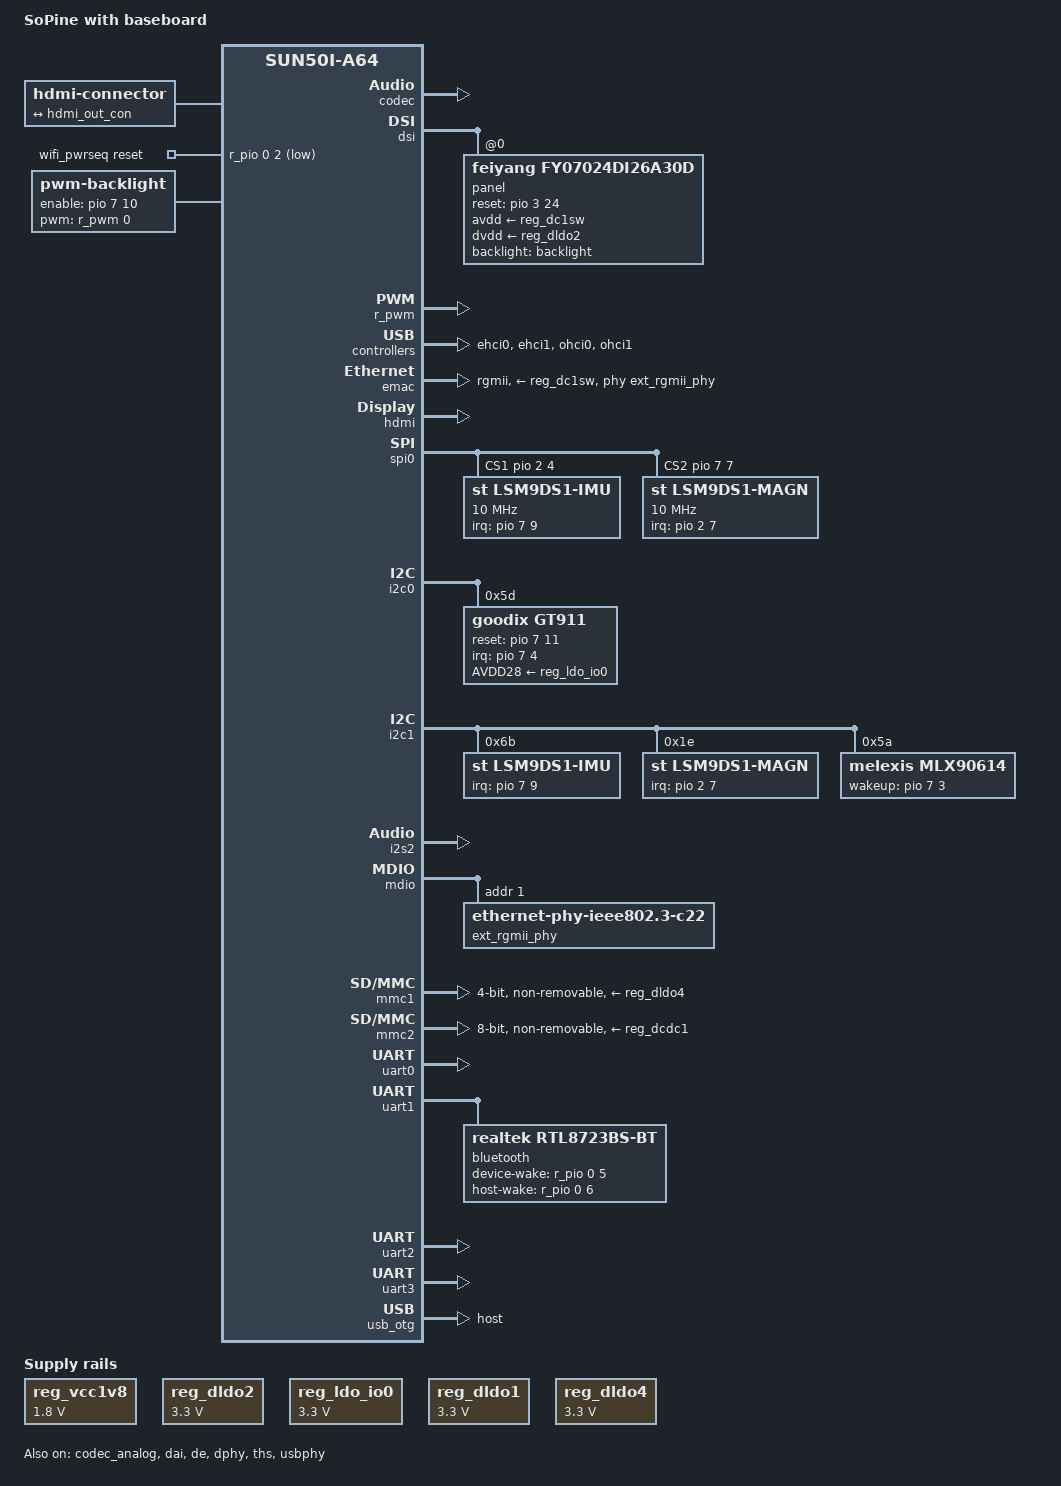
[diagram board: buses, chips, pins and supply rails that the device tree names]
// SPDX-License-Identifier: (GPL-2.0+ OR MIT)
// Copyright (c) 2017 Icenowy Zheng <icenowy@aosc.xyz>
// Based on sun50i-a64-pine64.dts, which is:
//   Copyright (c) 2016 ARM Ltd.

/dts-v1/;

#include "sun50i-a64-sopine.dtsi"
#include <dt-bindings/pwm/pwm.h>

/ {
	model = "SoPine with baseboard";
	compatible = "pine64,sopine-baseboard", "pine64,sopine",
		     "allwinner,sun50i-a64";

	aliases {
		ethernet0 = &emac;
		serial0 = &uart0;
		serial1 = &uart1;
		serial2 = &uart2;
		serial3 = &uart3;
		serial4 = &uart4;
	};

	chosen {
		stdout-path = "serial0:115200n8";
	};

	hdmi-connector {
		compatible = "hdmi-connector";
		type = "a";

		port {
			hdmi_con_in: endpoint {
				remote-endpoint = <&hdmi_out_con>;
			};
		};
	};

	reg_vcc1v8: vcc1v8 {
		compatible = "regulator-fixed";
		regulator-name = "vcc1v8";
		regulator-min-microvolt = <1800000>;
		regulator-max-microvolt = <1800000>;
	};

	wifi_pwrseq: wifi_pwrseq {
		compatible = "mmc-pwrseq-simple";
		reset-gpios = <&r_pio 0 2 GPIO_ACTIVE_LOW>; /* PL2 */
	};

	backlight: backlight {
		compatible = "pwm-backlight";
		pwms = <&r_pwm 0 50000 PWM_POLARITY_INVERTED>;
		brightness-levels = <0 10 20 30 40 50 60 70 80 90 100>;
		default-brightness-level = <8>;
		enable-gpios = <&pio 7 10 GPIO_ACTIVE_HIGH>; /* LCD-BL-EN: PH10 */
	};
};

&ac_power_supply {
	status = "okay";
};

&battery_power_supply {
	status = "okay";
};

&codec {
	status = "okay";
};

&codec_analog {
	status = "okay";
};

&dai {
	status = "okay";
};

&de {
	status = "okay";
};

&dphy {
	status = "okay";
};

&dsi {
	vcc-dsi-supply = <&reg_dldo1>;		/* VCC3V3-DSI */
	#address-cells = <1>;
	#size-cells = <0>;
	status = "okay";

	panel@0 {
		compatible = "feiyang,fy07024di26a30d";
		reg = <0>;
		avdd-supply = <&reg_dc1sw>;	/* VCC-LCD */
		dvdd-supply = <&reg_dldo2>;	/* VCC-MIPI */
		reset-gpios = <&pio 3 24 GPIO_ACTIVE_HIGH>; /* LCD-RST: PD24 */
		backlight = <&backlight>;
	};
};

&reg_dc1sw {
	regulator-always-on;
	regulator-name = "dc1sw";
};

&reg_dldo2 {
	regulator-always-on;
	regulator-min-microvolt = <3300000>;
	regulator-max-microvolt = <3300000>;
	regulator-name = "vcc-mipi-io";
};

&r_pwm {
	pinctrl-names = "default";
	pinctrl-0 = <&r_pwm_pin>;
	status = "okay";
};

&ehci0 {
	status = "okay";
};

&ehci1 {
	status = "okay";
};

&emac {
	pinctrl-names = "default";
	pinctrl-0 = <&rgmii_pins>;
	phy-mode = "rgmii";
	phy-handle = <&ext_rgmii_phy>;
	phy-supply = <&reg_dc1sw>;
	status = "okay";
};

&hdmi {
	hvcc-supply = <&reg_dldo1>;
	status = "okay";
};

&hdmi_out {
	hdmi_out_con: endpoint {
		remote-endpoint = <&hdmi_con_in>;
	};
};

&spi0 {
	status = "okay";
	cs-gpios = <0>, <&pio 2 4 0>, <&pio 7 7 0>; /* PC4 and PH7 */
	num-cs = <3>;

	lsm9ds1-imu {
		compatible = "st,lsm9ds1-imu";
		reg = <1>;
		spi-max-frequency = <10000000>;
		spi-cpol;
		spi-cpha;

		interrupt-parent = <&pio>;
		interrupts = <7 9 IRQ_TYPE_EDGE_RISING>; /* PH9 */
	};

	lsm9ds1-magn {
		compatible = "st,lsm9ds1-magn";
		reg = <2>;
		spi-max-frequency = <10000000>;
		spi-cpol;
		spi-cpha;

		interrupt-parent = <&pio>;
		interrupts = <2 7 IRQ_TYPE_EDGE_RISING>; /* PC7 */
	};
};

&i2c0 {
	pinctrl-names = "default";
	pinctrl-0 = <&i2c0_pins>;
	status = "okay";

	gt911@5d {
		compatible = "goodix,gt911";
		reg = <0x5d>;

		interrupt-parent = <&pio>;
		interrupts = <7 4 IRQ_TYPE_EDGE_RISING>; /* PH4 */
		reset-gpios = <&pio 7 11 GPIO_ACTIVE_HIGH>; /* PH11 */
		AVDD28-supply = <&reg_ldo_io0>; /* VCC-CTP: GPIO0-LDO */
	};
};

&i2c1 {
	pinctrl-names = "default";
	pinctrl-0 = <&i2c1_pins>;
	status = "okay";

	lsm9ds1-imu@6b {
		compatible = "st,lsm9ds1-imu";
		reg = <0x6b>;

		interrupt-parent = <&pio>;
		interrupts = <7 9 IRQ_TYPE_EDGE_RISING>; /* PH9 */
	};

	lsm9ds1-magn@1e {
		compatible = "st,lsm9ds1-magn";
		reg = <0x1e>;

		interrupt-parent = <&pio>;
		interrupts = <2 7 IRQ_TYPE_EDGE_RISING>; /* PC7 */
        };

	mlx90614@5a {
		compatible = "melexis,mlx90614";
		reg = <0x5a>;
		wakeup-gpios = <&pio 7 3 GPIO_ACTIVE_HIGH>; /* PH3 */
	};
};

&reg_ldo_io0 {
	regulator-min-microvolt = <3300000>;
	regulator-max-microvolt = <3300000>;
	regulator-name = "vcc-ctp";
	status = "okay";
};

&i2s2 {
	status = "okay";
};

&mdio {
	ext_rgmii_phy: ethernet-phy@1 {
		compatible = "ethernet-phy-ieee802.3-c22";
		reg = <1>;
	};
};

&mmc1 {
	pinctrl-names = "default";
	pinctrl-0 = <&mmc1_pins>;
	vmmc-supply = <&reg_dldo4>;
	vqmmc-supply = <&reg_eldo1>;
	mmc-pwrseq = <&wifi_pwrseq>;
	non-removable;
	bus-width = <4>;
	status = "okay";
};

&mmc2 {
	pinctrl-names = "default";
	pinctrl-0 = <&mmc2_pins>;
	vmmc-supply = <&reg_dcdc1>;
	vqmmc-supply = <&reg_vcc1v8>;
	bus-width = <8>;
	non-removable;
	cap-mmc-hw-reset;
	status = "okay";
};

&ohci0 {
	status = "okay";
};

&ohci1 {
	status = "okay";
};

&reg_dc1sw {
	/*
	 * Ethernet PHY needs 30ms to properly power up and some more
	 * to initialize. 100ms should be plenty of time to finish
	 * whole process.
	 */
	regulator-enable-ramp-delay = <100000>;
	regulator-name = "vcc-phy";
};

&reg_dldo1 {
	regulator-min-microvolt = <3300000>;
	regulator-max-microvolt = <3300000>;
	regulator-name = "vcc-hdmi";
};

&reg_dldo2 {
	regulator-min-microvolt = <3300000>;
	regulator-max-microvolt = <3300000>;
	regulator-name = "vcc-mipi";
};

&reg_dldo4 {
	regulator-min-microvolt = <3300000>;
	regulator-max-microvolt = <3300000>;
	regulator-name = "vcc-wifi";
};

&simplefb_hdmi {
	vcc-hdmi-supply = <&reg_dldo1>;
};

&sound {
	simple-audio-card,aux-devs = <&codec_analog>;
	simple-audio-card,widgets = "Microphone", "Microphone Jack",
				    "Headphone", "Headphone Jack";
	simple-audio-card,routing =
			"Left DAC", "AIF1 Slot 0 Left",
			"Right DAC", "AIF1 Slot 0 Right",
			"Headphone Jack", "HP",
			"AIF1 Slot 0 Left ADC", "Left ADC",
			"AIF1 Slot 0 Right ADC", "Right ADC",
			"MIC2", "Microphone Jack";
	status = "okay";
};

&sound_hdmi {
	status = "okay";
};

&ths {
	status = "okay";
};

&uart0 {
	pinctrl-names = "default";
	pinctrl-0 = <&uart0_pb_pins>;
	status = "okay";
};

&uart1 {
	pinctrl-names = "default";
	pinctrl-0 = <&uart1_pins>, <&uart1_rts_cts_pins>;
	uart-has-rtscts = <1>;
	status = "okay";

	bluetooth {
		compatible = "realtek,rtl8723bs-bt";
		device-wake-gpios = <&r_pio 0 5 GPIO_ACTIVE_HIGH>; /* PL5 */
		host-wake-gpios = <&r_pio 0 6 GPIO_ACTIVE_HIGH>; /* PL6 */
	};
};

/* On Pi-2 connector */
&uart2 {
	pinctrl-names = "default";
	pinctrl-0 = <&uart2_pins>;
	status = "okay";
};

/* On Euler connector */
&uart3 {
	pinctrl-names = "default";
	pinctrl-0 = <&uart3_pins>;
	status = "okay";
};

/* On Euler connector, RTS/CTS optional */
&uart4 {
	pinctrl-names = "default";
	pinctrl-0 = <&uart4_pins>;
	status = "disabled";
};

&usb_otg {
	dr_mode = "host";
	status = "okay";
};

&usbphy {
	status = "okay";
};
